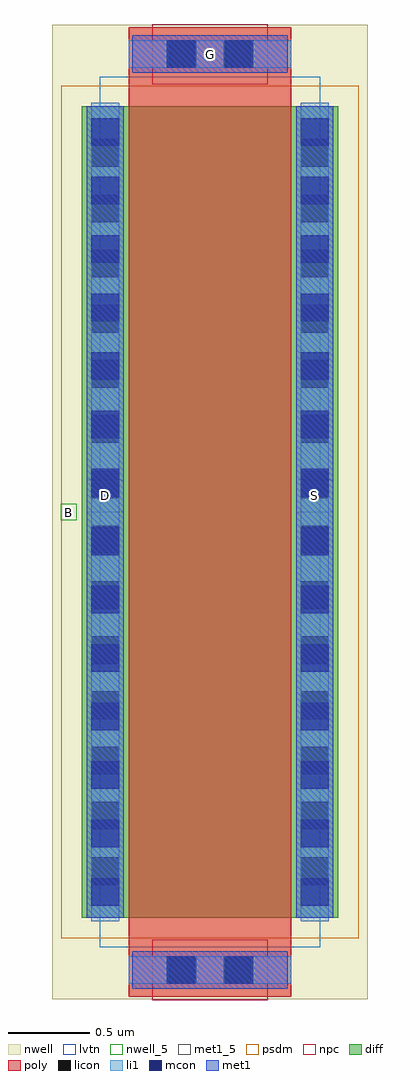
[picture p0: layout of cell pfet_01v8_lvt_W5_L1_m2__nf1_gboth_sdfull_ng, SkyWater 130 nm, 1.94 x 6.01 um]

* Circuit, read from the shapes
.subckt pfet_01v8_lvt_W5_L1_m2__nf1_gboth_sdfull_ng B D G S
XM1 S G D B sky130_fd_pr__pfet_01v8_lvt w=5 l=1
.ends

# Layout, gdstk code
import gdstk
lib = gdstk.Library(unit=1e-6, precision=1e-09)
def R(c, l, rs):  # rectangles x0, y0, x1, y1
    for r in rs: c.add(gdstk.rectangle(r[:2], r[2:], *l))
def A(c, l, x, y, w, h, nx, ny, dx, dy):  # array of equal rectangles
    R(c, l, [(x+i*dx, y+j*dy, x+i*dx+w, y+j*dy+h) for i in range(nx) for j in range(ny)])
nwell_5 = (64, 5)
nwell = (64, 20)
diff = (65, 20)
poly = (66, 20)
licon = (66, 44)
li1 = (67, 20)
mcon = (67, 44)
met1_5 = (68, 5)
met1 = (68, 20)
psdm = (94, 20)
npc = (95, 20)
lvtn = (125, 44)

sky130_fd_pr__pfet_01v8_ = lib.new_cell('sky130_fd_pr__pfet_01v8_lvt_AYWKR6')
R(sky130_fd_pr__pfet_01v8_, nwell, [(-0.97,-3,0.97,3)])
R(sky130_fd_pr__pfet_01v8_, diff, [(-0.79,-2.5,0.79,2.5)])
R(sky130_fd_pr__pfet_01v8_, poly, [(-0.5,-2.985,0.5,2.985)])
A(sky130_fd_pr__pfet_01v8_, licon, -0.73, -2.295, 0.17, 0.17, 1, 14, 0, 0.34)
A(sky130_fd_pr__pfet_01v8_, licon, 0.56, -2.295, 0.17, 0.17, 1, 14, 0, 0.34)
R(sky130_fd_pr__pfet_01v8_, licon, [(-0.255,-2.905,-0.085,-2.735), (0.085,-2.905,0.255,-2.735), (-0.255,2.735,-0.085,2.905), (0.085,2.735,0.255,2.905)])
R(sky130_fd_pr__pfet_01v8_, li1, [(-0.5,-2.905,0.5,-2.735), (-0.73,-2.52,-0.56,2.52), (0.56,-2.52,0.73,2.52), (-0.5,2.735,0.5,2.905)])
A(sky130_fd_pr__pfet_01v8_, mcon, -0.73, -2.425, 0.17, 0.17, 1, 14, 0, 0.36)
A(sky130_fd_pr__pfet_01v8_, mcon, 0.56, -2.425, 0.17, 0.17, 1, 14, 0, 0.36)
R(sky130_fd_pr__pfet_01v8_, mcon, [(-0.265,-2.905,-0.095,-2.735), (0.095,-2.905,0.265,-2.735), (-0.265,2.735,-0.095,2.905), (0.095,2.735,0.265,2.905)])
R(sky130_fd_pr__pfet_01v8_, met1, [(-0.48,-2.935,0.48,-2.705), (-0.76,-2.5,-0.53,2.5), (0.53,-2.5,0.76,2.5), (-0.48,2.705,0.48,2.935)])
R(sky130_fd_pr__pfet_01v8_, psdm, [(-0.915,-2.625,0.915,2.625)])
R(sky130_fd_pr__pfet_01v8_, npc, [(-0.355,-3.005,0.355,-2.635), (-0.355,2.635,0.355,3.005)])
R(sky130_fd_pr__pfet_01v8_, lvtn, [(-0.68,-2.68,0.68,2.68)])
sky130_fd_pr__pfet_01v8_.add(gdstk.Label('D', (-0.645,0), layer=67, texttype=5))
sky130_fd_pr__pfet_01v8_.add(gdstk.Label('S', (0.645,0), layer=67, texttype=5))
sky130_fd_pr__pfet_01v8_.add(gdstk.Label('G', (0,2.82), layer=67, texttype=5))

pfet_01v8_lvt_w5_l1_m2__ = lib.new_cell('pfet_01v8_lvt_W5_L1_m2__nf1_gboth_sdfull_ng')
R(pfet_01v8_lvt_w5_l1_m2__, nwell_5, [(0.05,2.95,0.15,3.05)])
R(pfet_01v8_lvt_w5_l1_m2__, nwell, [(0.05,2.95,0.15,3.05)])
R(pfet_01v8_lvt_w5_l1_m2__, met1_5, [(0.21,3,0.44,3.2), (1.5,3,1.73,3.2), (0.49,5.705,1.45,5.935)])
R(pfet_01v8_lvt_w5_l1_m2__, met1, [(0.21,3,0.44,3.2), (1.5,3,1.73,3.2), (0.49,5.705,1.45,5.935)])
pfet_01v8_lvt_w5_l1_m2__.add(gdstk.Reference(sky130_fd_pr__pfet_01v8_, (0.97,3)))
pfet_01v8_lvt_w5_l1_m2__.add(gdstk.Label('D', (0.325,3.1), layer=68, texttype=5))
pfet_01v8_lvt_w5_l1_m2__.add(gdstk.Label('S', (1.615,3.1), layer=68, texttype=5))
pfet_01v8_lvt_w5_l1_m2__.add(gdstk.Label('G', (0.97,5.82), layer=68, texttype=5))
pfet_01v8_lvt_w5_l1_m2__.add(gdstk.Label('B', (0.1,3), layer=64, texttype=5))

lib.write_gds('pfet_01v8_lvt_W5_L1_m2__nf1_gboth_sdfull_ng.gds')
